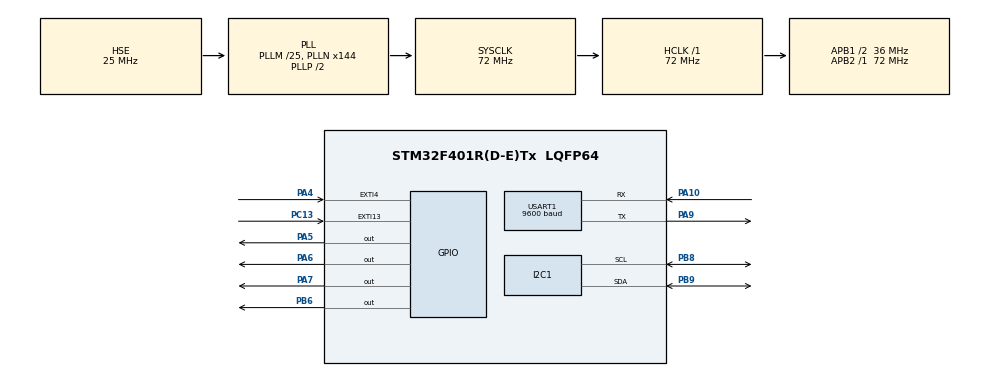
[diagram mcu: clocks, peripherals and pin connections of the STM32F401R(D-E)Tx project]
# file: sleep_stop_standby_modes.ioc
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Mcu.Family=STM32F4
Mcu.Name=STM32F401R(D-E)Tx
Mcu.Package=LQFP64
NVIC.EXTI15_10_IRQn=true\:0\:0\:false\:false\:true\:true\:true\:true
NVIC.EXTI4_IRQn=true\:0\:0\:false\:false\:true\:true\:true\:true
NVIC.I2C1_ER_IRQn=true\:0\:0\:false\:false\:true\:true\:true\:true
NVIC.I2C1_EV_IRQn=true\:0\:0\:false\:false\:true\:true\:true\:true
NVIC.PriorityGroup=NVIC_PRIORITYGROUP_4
NVIC.RTC_WKUP_IRQn=true\:0\:0\:false\:false\:true\:true\:true\:true
NVIC.USART1_IRQn=true\:0\:0\:false\:false\:true\:true\:true\:true
PA10.Mode=Asynchronous
PA10.Signal=USART1_RX
PA13.Mode=Serial_Wire
PA13.Signal=SYS_JTMS-SWDIO
PA14.Mode=Serial_Wire
PA14.Signal=SYS_JTCK-SWCLK
PA4.Signal=GPXTI4
PA5.Signal=GPIO_Output
PA6.Signal=GPIO_Output
PA7.Signal=GPIO_Output
PA9.Mode=Asynchronous
PA9.Signal=USART1_TX
PB6.Signal=GPIO_Output
PB8.Mode=I2C
PB8.Signal=I2C1_SCL
PB9.Mode=I2C
PB9.Signal=I2C1_SDA
PC13-ANTI_TAMP.Signal=GPXTI13
PH0\ -\ OSC_IN.Mode=HSE-External-Oscillator
PH0\ -\ OSC_IN.Signal=RCC_OSC_IN
PH1\ -\ OSC_OUT.Mode=HSE-External-Oscillator
PH1\ -\ OSC_OUT.Signal=RCC_OSC_OUT
ProjectManager.HeapSize=0x200
ProjectManager.StackSize=0x400
ProjectManager.TargetToolchain=STM32CubeIDE
RCC.48MHZClocksFreq_Value=36000000
RCC.AHBFreq_Value=72000000
RCC.APB1CLKDivider=RCC_HCLK_DIV2
RCC.APB1Freq_Value=36000000
RCC.APB1TimFreq_Value=72000000
RCC.APB2Freq_Value=72000000
RCC.APB2TimFreq_Value=72000000
RCC.CortexFreq_Value=72000000
RCC.HCLKFreq_Value=72000000
RCC.HSE_VALUE=25000000
RCC.HSI_VALUE=16000000
RCC.LSE_VALUE=32768
RCC.PLLM=25
RCC.PLLN=144
RCC.PLLSourceVirtual=RCC_PLLSOURCE_HSE
RCC.SYSCLKFreq_VALUE=72000000
RCC.SYSCLKSource=RCC_SYSCLKSOURCE_PLLCLK
RCC.VCOOutputFreq_Value=144000000
USART1.BaudRate=9600
USART1.VirtualMode=VM_ASYNC
VP_RTC_VS_RTC_Activate.Mode=RTC_Enabled
VP_RTC_VS_RTC_WakeUp_intern.Mode=WakeUp
board=custom

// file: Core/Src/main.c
/* USER CODE BEGIN Header */
/**
  ******************************************************************************
  * @file           : main.c
  * @brief          : Main program body
  ******************************************************************************
  * @attention
  *
  * Copyright (c) 2023 STMicroelectronics.
  * All rights reserved.
  *
  * This software is licensed under terms that can be found in the LICENSE file
  * in the root directory of this software component.
  * If no LICENSE file comes with this software, it is provided AS-IS.
  *
  ******************************************************************************
  */
/* USER CODE END Header */
#include "main.h"

/* USER CODE BEGIN Includes */
#include <stdio.h>
#include <stdlib.h>
#include <string.h>
#include <lcd.h>
/* USER CODE END Includes */

I2C_HandleTypeDef hi2c1;

RTC_HandleTypeDef hrtc;

UART_HandleTypeDef huart1;

/* USER CODE BEGIN PV */
uint8_t Rx_data;
char *str = {0};
char *str_lcd_msg = {0};

/* USER CODE END PV */

void SystemClock_Config(void);
static void MX_GPIO_Init(void);
static void MX_USART1_UART_Init(void);
static void MX_I2C1_Init(void);
static void MX_RTC_Init(void);

/* USER CODE BEGIN 0 */
void HAL_UART_RxCpltCallback(UART_HandleTypeDef *huart)
{
	HAL_UART_Receive_IT(&huart1, &Rx_data, 1);
	str = "Passe sleep  uart1\n";
	str_lcd_msg = "Passe BY UART";
	HAL_UART_Transmit(&huart1, (uint8_t *)str, strlen (str), HAL_MAX_DELAY);
  	lcd_clear();
	lcd_send_cmd(0xc0);
   	lcd_send_string(str_lcd_msg);

}

void HAL_GPIO_EXTI_Callback(uint16_t GPIO_Pin)
{
	if(GPIO_Pin == GPIO_PIN_4)
	{
	  HAL_GPIO_WritePin(GPIOA, GPIO_PIN_7, 1);

	  str = "WAKE UP FROM SLEEP BY EXT4\r\n";
	  HAL_UART_Transmit(&huart1, (uint8_t *)str, strlen (str), HAL_MAX_DELAY);

      HAL_ResumeTick();
      lcd_clear();
      lcd_send_cmd(0xc0);
	  str_lcd_msg = "EXT14 wakeup ko";
	  lcd_send_string(str_lcd_msg);
	  HAL_PWR_DisableSleepOnExit();
	}

	if(GPIO_Pin == GPIO_PIN_13)
	{

	  HAL_GPIO_WritePin(GPIOB, GPIO_PIN_6, 1);
	  HAL_ResumeTick();
	  lcd_clear();
	  lcd_send_cmd(0xc0);
	  str_lcd_msg = "EXT13 wakeup ko";
	  lcd_send_string(str_lcd_msg);
	  HAL_PWR_DisableSleepOnExit();

	}
}

void HAL_RTCEx_WakeUpTimerEventCallback(RTC_HandleTypeDef *hrtc)
{
    HAL_ResumeTick();
    SystemClock_Config();
    lcd_clear();
    lcd_send_cmd(0xc0);
    str_lcd_msg = "wake by RTC";
    lcd_send_string(str_lcd_msg);

}
/* USER CODE END 0 */

int main(void)
{

  /* MCU Configuration--------------------------------------------------------*/

  /* Reset of all peripherals, Initializes the Flash interface and the Systick. */
  HAL_Init();

  /* Configure the system clock */
  SystemClock_Config();

  /* Initialize all configured peripherals */
  MX_GPIO_Init();
  MX_USART1_UART_Init();
  MX_I2C1_Init();
  MX_RTC_Init();
  lcd_init();
  lcd_clear();

    HAL_UART_Receive_IT(&huart1, &Rx_data, 1);

    str_lcd_msg = "STOPing in 5sec";
    lcd_send_cmd(0x80);
    lcd_send_string("STOPing in 5sec");
    HAL_GPIO_WritePin(GPIOA, GPIO_PIN_6, 1);

    HAL_Delay(2000);
    lcd_clear();
    HAL_RTCEx_SetWakeUpTimer_IT(&hrtc, 0x4E20, RTC_WAKEUPCLOCK_RTCCLK_DIV16);

    HAL_SuspendTick();

    HAL_GPIO_WritePin(GPIOA, GPIO_PIN_6, 0);

    HAL_PWR_EnterSTOPMode(PWR_LOWPOWERREGULATOR_ON , PWR_STOPENTRY_WFI );   //ENTER INTO stop mode
    HAL_RTCEx_DeactivateWakeUpTimer(&hrtc);                                //deactivate after call back

    for (int i=0; i<10; i++)
    {
  	  HAL_GPIO_TogglePin(GPIOA, GPIO_PIN_6);
  	  HAL_Delay(100);
    }
    /* USER CODE END 2 */

       /* Infinite loop */
   while (1)
   {
	  str = "sleep mode in 5sec";
	  HAL_UART_Transmit(&huart1, (uint8_t*)str, strlen (str), HAL_MAX_DELAY);

	  lcd_send_cmd(0x80);
	  str_lcd_msg = "sleeping in 5sec";
	  lcd_send_string(str_lcd_msg);

	  HAL_GPIO_WritePin(GPIOA, GPIO_PIN_5, 1);
	  HAL_Delay(5000);
	  lcd_clear();

	  HAL_GPIO_WritePin(GPIOA, GPIO_PIN_7, 0);
	  HAL_GPIO_WritePin(GPIOB, GPIO_PIN_6, 0);
	  HAL_GPIO_WritePin(GPIOA, GPIO_PIN_5, 0);

	  HAL_SuspendTick();
	  HAL_PWR_EnableSleepOnExit();

	   //Enter Sleep Mode , wake up is done once User push-button is pressed
	  HAL_PWR_EnterSLEEPMode(PWR_MAINREGULATOR_ON, PWR_SLEEPENTRY_WFI);

	  HAL_ResumeTick();
      str = "WakeUP from SLEEP\r\n";
      HAL_UART_Transmit(&huart1, (uint8_t *)str, strlen (str), HAL_MAX_DELAY);

     lcd_send_cmd(0x80);
     str_lcd_msg = "pase from sleep";
     lcd_send_string(str_lcd_msg);

	  for (int i=0; i<20; i++)
	  {
		  HAL_GPIO_TogglePin(GPIOA, GPIO_PIN_5);
		  HAL_Delay(100);

	  }
       }
}

void SystemClock_Config(void)
{
  RCC_OscInitTypeDef RCC_OscInitStruct = {0};
  RCC_ClkInitTypeDef RCC_ClkInitStruct = {0};

  /** Configure the main internal regulator output voltage
  */
  __HAL_RCC_PWR_CLK_ENABLE();
  __HAL_PWR_VOLTAGESCALING_CONFIG(PWR_REGULATOR_VOLTAGE_SCALE2);

  /** Initializes the RCC Oscillators according to the specified parameters
  * in the RCC_OscInitTypeDef structure.
  */
  RCC_OscInitStruct.OscillatorType = RCC_OSCILLATORTYPE_LSI|RCC_OSCILLATORTYPE_HSE;
  RCC_OscInitStruct.HSEState = RCC_HSE_ON;
  RCC_OscInitStruct.LSIState = RCC_LSI_ON;
  RCC_OscInitStruct.PLL.PLLState = RCC_PLL_ON;
  RCC_OscInitStruct.PLL.PLLSource = RCC_PLLSOURCE_HSE;
  RCC_OscInitStruct.PLL.PLLM = 25;
  RCC_OscInitStruct.PLL.PLLN = 144;
  RCC_OscInitStruct.PLL.PLLP = RCC_PLLP_DIV2;
  RCC_OscInitStruct.PLL.PLLQ = 4;
  if (HAL_RCC_OscConfig(&RCC_OscInitStruct) != HAL_OK)
  {
    Error_Handler();
  }

  /** Initializes the CPU, AHB and APB buses clocks
  */
  RCC_ClkInitStruct.ClockType = RCC_CLOCKTYPE_HCLK|RCC_CLOCKTYPE_SYSCLK
                              |RCC_CLOCKTYPE_PCLK1|RCC_CLOCKTYPE_PCLK2;
  RCC_ClkInitStruct.SYSCLKSource = RCC_SYSCLKSOURCE_PLLCLK;
  RCC_ClkInitStruct.AHBCLKDivider = RCC_SYSCLK_DIV1;
  RCC_ClkInitStruct.APB1CLKDivider = RCC_HCLK_DIV2;
  RCC_ClkInitStruct.APB2CLKDivider = RCC_HCLK_DIV1;

  if (HAL_RCC_ClockConfig(&RCC_ClkInitStruct, FLASH_LATENCY_2) != HAL_OK)
  {
    Error_Handler();
  }
}

static void MX_I2C1_Init(void)
{

  hi2c1.Instance = I2C1;
  hi2c1.Init.ClockSpeed = 100000;
  hi2c1.Init.DutyCycle = I2C_DUTYCYCLE_2;
  hi2c1.Init.OwnAddress1 = 0;
  hi2c1.Init.AddressingMode = I2C_ADDRESSINGMODE_7BIT;
  hi2c1.Init.DualAddressMode = I2C_DUALADDRESS_DISABLE;
  hi2c1.Init.OwnAddress2 = 0;
  hi2c1.Init.GeneralCallMode = I2C_GENERALCALL_DISABLE;
  hi2c1.Init.NoStretchMode = I2C_NOSTRETCH_DISABLE;
  if (HAL_I2C_Init(&hi2c1) != HAL_OK)
  {
    Error_Handler();
  }

}

static void MX_RTC_Init(void)
{

  RTC_TimeTypeDef sTime = {0};
  RTC_DateTypeDef sDate = {0};

  /** Initialize RTC Only
  */
  hrtc.Instance = RTC;
  hrtc.Init.HourFormat = RTC_HOURFORMAT_24;
  hrtc.Init.AsynchPrediv = 127;
  hrtc.Init.SynchPrediv = 255;
  hrtc.Init.OutPut = RTC_OUTPUT_DISABLE;
  hrtc.Init.OutPutPolarity = RTC_OUTPUT_POLARITY_HIGH;
  hrtc.Init.OutPutType = RTC_OUTPUT_TYPE_OPENDRAIN;
  if (HAL_RTC_Init(&hrtc) != HAL_OK)
  {
    Error_Handler();
  }

  /** Initialize RTC and set the Time and Date
  */
  sTime.Hours = 0x0;
  sTime.Minutes = 0x0;
  sTime.Seconds = 0x0;
  sTime.DayLightSaving = RTC_DAYLIGHTSAVING_NONE;
  sTime.StoreOperation = RTC_STOREOPERATION_RESET;
  if (HAL_RTC_SetTime(&hrtc, &sTime, RTC_FORMAT_BCD) != HAL_OK)
  {
    Error_Handler();
  }
  sDate.WeekDay = RTC_WEEKDAY_MONDAY;
  sDate.Month = RTC_MONTH_JANUARY;
  sDate.Date = 0x1;
  sDate.Year = 0x0;

  if (HAL_RTC_SetDate(&hrtc, &sDate, RTC_FORMAT_BCD) != HAL_OK)
  {
    Error_Handler();
  }

  /** Enable the WakeUp
  */
  if (HAL_RTCEx_SetWakeUpTimer_IT(&hrtc, 0, RTC_WAKEUPCLOCK_RTCCLK_DIV16) != HAL_OK)
  {
    Error_Handler();
  }

}

static void MX_USART1_UART_Init(void)
{

  huart1.Instance = USART1;
  huart1.Init.BaudRate = 9600;
  huart1.Init.WordLength = UART_WORDLENGTH_8B;
  huart1.Init.StopBits = UART_STOPBITS_1;
  huart1.Init.Parity = UART_PARITY_NONE;
  huart1.Init.Mode = UART_MODE_TX_RX;
  huart1.Init.HwFlowCtl = UART_HWCONTROL_NONE;
  huart1.Init.OverSampling = UART_OVERSAMPLING_16;
  if (HAL_UART_Init(&huart1) != HAL_OK)
  {
    Error_Handler();
  }

}

static void MX_GPIO_Init(void)
{
  GPIO_InitTypeDef GPIO_InitStruct = {0};

  /* GPIO Ports Clock Enable */
  __HAL_RCC_GPIOC_CLK_ENABLE();
  __HAL_RCC_GPIOH_CLK_ENABLE();
  __HAL_RCC_GPIOA_CLK_ENABLE();
  __HAL_RCC_GPIOB_CLK_ENABLE();

  /*Configure GPIO pin Output Level */
  HAL_GPIO_WritePin(GPIOA, GPIO_PIN_5|GPIO_PIN_6|GPIO_PIN_7, GPIO_PIN_RESET);

  /*Configure GPIO pin Output Level */
  HAL_GPIO_WritePin(GPIOB, GPIO_PIN_6, GPIO_PIN_RESET);

  /*Configure GPIO pin : PC13 */
  GPIO_InitStruct.Pin = GPIO_PIN_13;
  GPIO_InitStruct.Mode = GPIO_MODE_IT_RISING;
  GPIO_InitStruct.Pull = GPIO_NOPULL;
  HAL_GPIO_Init(GPIOC, &GPIO_InitStruct);

  /*Configure GPIO pin : PA4 */
  GPIO_InitStruct.Pin = GPIO_PIN_4;
  GPIO_InitStruct.Mode = GPIO_MODE_IT_RISING;
  GPIO_InitStruct.Pull = GPIO_NOPULL;
  HAL_GPIO_Init(GPIOA, &GPIO_InitStruct);

  /*Configure GPIO pins : PA5 PA6 PA7 */
  GPIO_InitStruct.Pin = GPIO_PIN_5|GPIO_PIN_6|GPIO_PIN_7;
  GPIO_InitStruct.Mode = GPIO_MODE_OUTPUT_PP;
  GPIO_InitStruct.Pull = GPIO_NOPULL;
  GPIO_InitStruct.Speed = GPIO_SPEED_FREQ_LOW;
  HAL_GPIO_Init(GPIOA, &GPIO_InitStruct);

  /*Configure GPIO pin : PB6 */
  GPIO_InitStruct.Pin = GPIO_PIN_6;
  GPIO_InitStruct.Mode = GPIO_MODE_OUTPUT_PP;
  GPIO_InitStruct.Pull = GPIO_NOPULL;
  GPIO_InitStruct.Speed = GPIO_SPEED_FREQ_LOW;
  HAL_GPIO_Init(GPIOB, &GPIO_InitStruct);

  /* EXTI interrupt init*/
  HAL_NVIC_SetPriority(EXTI4_IRQn, 0, 0);
  HAL_NVIC_EnableIRQ(EXTI4_IRQn);

  HAL_NVIC_SetPriority(EXTI15_10_IRQn, 0, 0);
  HAL_NVIC_EnableIRQ(EXTI15_10_IRQn);

}

void Error_Handler(void)
{
  __disable_irq();
  while (1)
  {
  }
}
